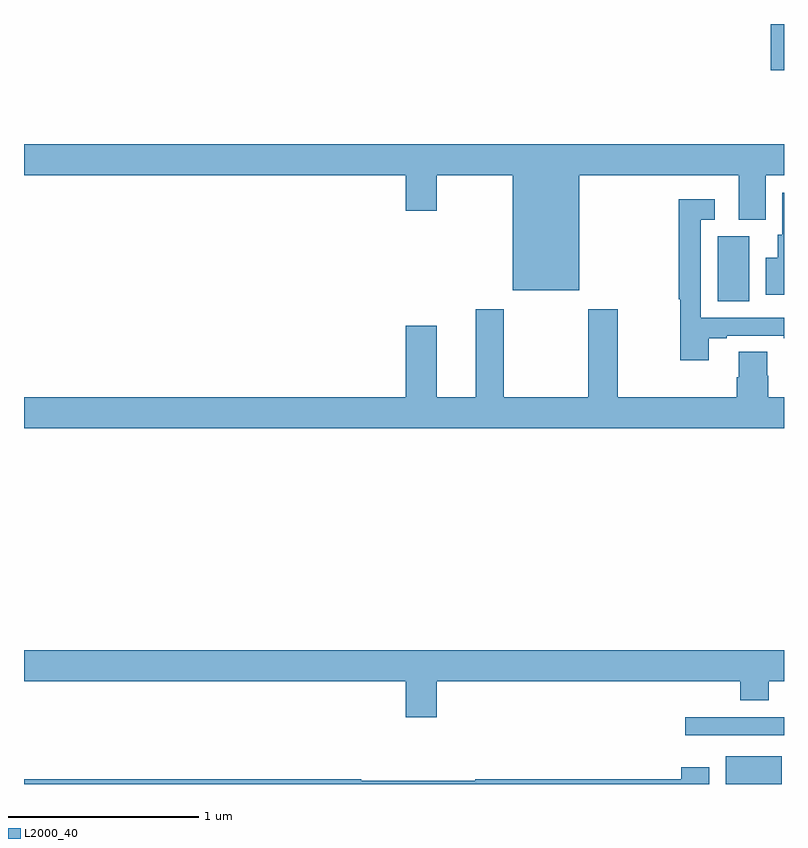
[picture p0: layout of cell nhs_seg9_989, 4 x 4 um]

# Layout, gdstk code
import gdstk
lib = gdstk.Library(unit=1e-6, precision=1e-09)
def R(c, l, rs):  # rectangles x0, y0, x1, y1
    for r in rs: c.add(gdstk.rectangle(r[:2], r[2:], *l))
def P(c, l, *ps):  # polygons
    for p in ps: c.add(gdstk.Polygon(p, *l))
L2000_40 = (2000, 40)

nhs_seg9_989 = lib.new_cell('nhs_seg9_989')
R(nhs_seg9_989, L2000_40, [(166.694,1242.5,166.987,1242.646), (166.479,1242.756,167,1242.852), (166.652,1245.04,166.816,1245.384), (166.931,1246.257,167,1246.5)])
P(nhs_seg9_989, L2000_40, [(165.922,1245.704),(166.763,1245.704),(166.763,1245.469),(166.903,1245.469),(166.903,1245.704),(167,1245.704),(167,1245.868),(163,1245.868),(163,1245.704),(165.008,1245.704),(165.008,1245.516),(165.172,1245.516),(165.172,1245.704),(165.572,1245.704),(165.572,1245.098),(165.922,1245.098)],
  [(167,1245.612),(166.992,1245.612),(166.992,1245.39),(166.967,1245.39),(166.967,1245.271),(166.904,1245.271),(166.904,1245.075),(167,1245.075)],
  [(166.603,1244.847),(166.699,1244.847),(166.699,1244.859),(166.999,1244.859),(166.999,1244.847),(167,1244.847),(167,1244.955),(166.563,1244.955),(166.563,1245.471),(166.636,1245.471),(166.636,1245.577),(166.447,1245.577),(166.447,1245.052),(166.455,1245.052),(166.455,1244.73),(166.603,1244.73)],
  [(167,1244.536),(166.916,1244.536),(166.916,1244.649),(166.911,1244.649),(166.911,1244.774),(166.763,1244.774),(166.763,1244.642),(166.751,1244.642),(166.751,1244.536),(166.125,1244.536),(166.125,1244.998),(165.97,1244.998),(165.97,1244.536),(165.525,1244.536),(165.525,1244.998),(165.377,1244.998),(165.377,1244.536),(165.172,1244.536),(165.172,1244.911),(165.008,1244.911),(165.008,1244.536),(163,1244.536),(163,1244.372),(167,1244.372)],
  [(165.172,1243.04),(166.769,1243.04),(166.769,1242.941),(166.921,1242.941),(166.921,1243.04),(167,1243.04),(167,1243.204),(163,1243.204),(163,1243.04),(165.008,1243.04),(165.008,1242.852),(165.172,1242.852)],
  [(166.606,1242.589),(166.46,1242.589),(166.46,1242.524),(165.376,1242.524),(165.376,1242.517),(164.776,1242.517),(164.776,1242.524),(163,1242.524),(163,1242.5),(166.606,1242.5)])

lib.write_gds('nhs_seg9_989.gds')
